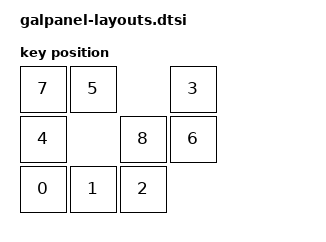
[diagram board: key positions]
/*
 * Copyright (c) 2026 GALPANEL contributors
 * SPDX-License-Identifier: MIT
 */

#include <physical_layouts.dtsi>

/ {
    galpanel_physical_layout: galpanel_physical_layout {
        compatible = "zmk,physical-layout";
        display-name = "GALPANEL V2.1";
        transform = <&galpanel_transform>;

        /*
         * Logical order matches kscan input-gpios and the keymap:
         * FAST, AUTO, NEXT, QSAVE, DESKTOP, SYS, FN, QLOAD, ENC_SW.
         * Coordinates are documentation/UI hints rather than PCB dimensions.
         */
        keys
            = <&key_physical_attrs 100 100   0 200 0 0 0>
            , <&key_physical_attrs 100 100 100 200 0 0 0>
            , <&key_physical_attrs 100 100 200 200 0 0 0>
            , <&key_physical_attrs 100 100 300   0 0 0 0>
            , <&key_physical_attrs 100 100   0 100 0 0 0>
            , <&key_physical_attrs 100 100 100   0 0 0 0>
            , <&key_physical_attrs 100 100 300 100 0 0 0>
            , <&key_physical_attrs 100 100   0   0 0 0 0>
            , <&key_physical_attrs 100 100 200 100 0 0 0>
            ;
    };
};

